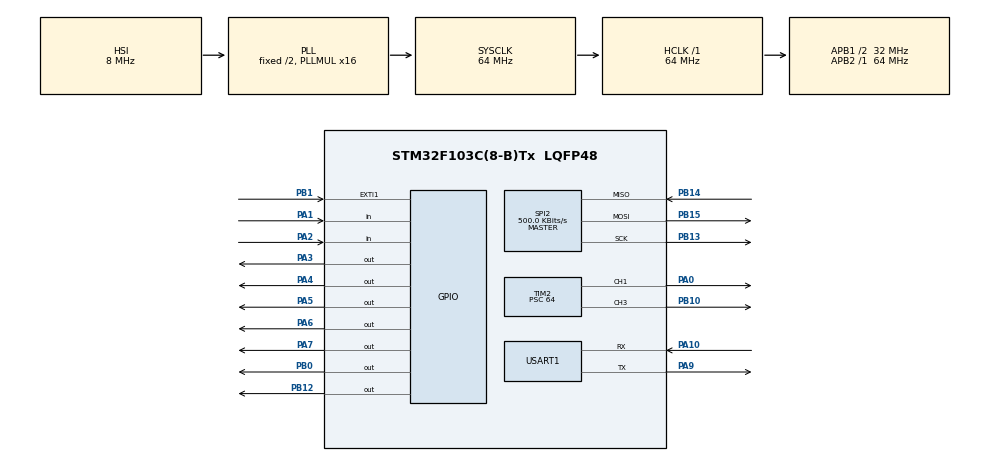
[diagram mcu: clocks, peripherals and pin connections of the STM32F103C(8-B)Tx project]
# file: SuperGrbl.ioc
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Mcu.Family=STM32F1
Mcu.Name=STM32F103C(8-B)Tx
Mcu.Package=LQFP48
NVIC.PriorityGroup=NVIC_PRIORITYGROUP_4
NVIC.TIM1_CC_IRQn=true\:0\:0\:false\:false\:true\:true\:true
NVIC.TIM1_UP_IRQn=true\:0\:0\:false\:false\:true\:true\:true
NVIC.TIM2_IRQn=true\:0\:0\:false\:false\:true\:true\:true
NVIC.USART1_IRQn=true\:0\:0\:false\:false\:true\:true\:true
PA0-WKUP.Signal=S_TIM2_CH1_ETR
PA1.GPIO_PuPd=GPIO_PULLUP
PA1.Signal=GPIO_Input
PA10.Mode=Asynchronous
PA10.Signal=USART1_RX
PA13.Mode=JTAG_4_pins
PA13.Signal=SYS_JTMS-SWDIO
PA14.Mode=JTAG_4_pins
PA14.Signal=SYS_JTCK-SWCLK
PA15.Mode=JTAG_4_pins
PA15.Signal=SYS_JTDI
PA2.GPIO_PuPd=GPIO_PULLUP
PA2.Signal=GPIO_Input
PA3.Signal=GPIO_Output
PA4.Signal=GPIO_Output
PA5.Signal=GPIO_Output
PA6.Signal=GPIO_Output
PA7.Signal=GPIO_Output
PA9.Mode=Asynchronous
PA9.Signal=USART1_TX
PB0.Signal=GPIO_Output
PB1.GPIO_ModeDefaultEXTI=GPIO_MODE_IT_FALLING
PB1.Signal=GPXTI1
PB10.Signal=S_TIM2_CH3
PB12.Signal=GPIO_Output
PB13.Mode=Full_Duplex_Master
PB13.Signal=SPI2_SCK
PB14.Mode=Full_Duplex_Master
PB14.Signal=SPI2_MISO
PB15.Mode=Full_Duplex_Master
PB15.Signal=SPI2_MOSI
PB3.Mode=JTAG_4_pins
PB3.Signal=SYS_JTDO-TRACESWO
PD0-OSC_IN.Mode=HSE-External-Clock-Source
PD0-OSC_IN.Signal=RCC_OSC_IN
PD1-OSC_OUT.Mode=HSE-External-Clock-Source
PD1-OSC_OUT.Signal=RCC_OSC_OUT
ProjectManager.HeapSize=0x200
ProjectManager.StackSize=0x400
ProjectManager.TargetToolchain=MDK-ARM V5.27
RCC.AHBFreq_Value=64000000
RCC.APB1CLKDivider=RCC_HCLK_DIV2
RCC.APB1Freq_Value=32000000
RCC.APB1TimFreq_Value=64000000
RCC.APB2Freq_Value=64000000
RCC.APB2TimFreq_Value=64000000
RCC.HCLKFreq_Value=64000000
RCC.PLLMUL=RCC_PLL_MUL16
RCC.SYSCLKFreq_VALUE=64000000
RCC.SYSCLKSource=RCC_SYSCLKSOURCE_PLLCLK
RCC.USBFreq_Value=64000000
SH.S_TIM2_CH1_ETR.0=TIM2_CH1,PWM Generation1 CH1
SH.S_TIM2_CH3.0=TIM2_CH3,PWM Generation3 CH3
SPI2.BaudRatePrescaler=SPI_BAUDRATEPRESCALER_64
SPI2.CalculateBaudRate=500.0 KBits/s
SPI2.Direction=SPI_DIRECTION_2LINES
SPI2.Mode=SPI_MODE_MASTER
SPI2.VirtualType=VM_MASTER
TIM1.Period=999
TIM1.Prescaler=64
TIM2.Channel-PWM\ Generation1\ CH1=TIM_CHANNEL_1
TIM2.Channel-PWM\ Generation3\ CH3=TIM_CHANNEL_3
TIM2.Period=999
TIM2.Prescaler=64
USART1.VirtualMode=VM_ASYNC
VP_TIM1_VS_ClockSourceINT.Mode=Internal
VP_TIM2_VS_ClockSourceINT.Mode=Internal
board=custom

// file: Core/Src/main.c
/* USER CODE BEGIN Header */
/**
  ******************************************************************************
  * @file           : main.c
  * @brief          : Main program body
  ******************************************************************************
  * @attention
  *
  * <h2><center>&copy; Copyright (c) 2022 STMicroelectronics.
  * All rights reserved.</center></h2>
  *
  * This software component is licensed by ST under BSD 3-Clause license,
  * the "License"; You may not use this file except in compliance with the
  * License. You may obtain a copy of the License at:
  *                        opensource.org/licenses/BSD-3-Clause
  *
  ******************************************************************************
  */
/* USER CODE END Header */
#include "main.h"

/* USER CODE BEGIN Includes */
#include "mainserver.h"
/* USER CODE END Includes */

SPI_HandleTypeDef hspi2;

TIM_HandleTypeDef htim1;
TIM_HandleTypeDef htim2;

UART_HandleTypeDef huart1;

void SystemClock_Config(void);
static void MX_GPIO_Init(void);
static void MX_SPI2_Init(void);
static void MX_TIM1_Init(void);
static void MX_TIM2_Init(void);
static void MX_USART1_UART_Init(void);

int main(void)
{

  /* MCU Configuration--------------------------------------------------------*/

  /* Reset of all peripherals, Initializes the Flash interface and the Systick. */
  HAL_Init();

  /* Configure the system clock */
  SystemClock_Config();

  /* Initialize all configured peripherals */
  MX_GPIO_Init();
  MX_SPI2_Init();
  MX_TIM1_Init();
  MX_TIM2_Init();
  MX_USART1_UART_Init();
  /* USER CODE BEGIN 2 */
  DataInit();

  /* USER CODE END 2 */

  /* Infinite loop */
  /* USER CODE BEGIN WHILE */
  while (1)
  {
    MainServer();
    /* USER CODE END WHILE */

  }
}

void SystemClock_Config(void)
{
  RCC_OscInitTypeDef RCC_OscInitStruct = {0};
  RCC_ClkInitTypeDef RCC_ClkInitStruct = {0};

  /** Initializes the RCC Oscillators according to the specified parameters
  * in the RCC_OscInitTypeDef structure.
  */
  RCC_OscInitStruct.OscillatorType = RCC_OSCILLATORTYPE_HSI;
  RCC_OscInitStruct.HSIState = RCC_HSI_ON;
  RCC_OscInitStruct.HSICalibrationValue = RCC_HSICALIBRATION_DEFAULT;
  RCC_OscInitStruct.PLL.PLLState = RCC_PLL_ON;
  RCC_OscInitStruct.PLL.PLLSource = RCC_PLLSOURCE_HSI_DIV2;
  RCC_OscInitStruct.PLL.PLLMUL = RCC_PLL_MUL16;
  if (HAL_RCC_OscConfig(&RCC_OscInitStruct) != HAL_OK)
  {
    Error_Handler();
  }
  /** Initializes the CPU, AHB and APB buses clocks
  */
  RCC_ClkInitStruct.ClockType = RCC_CLOCKTYPE_HCLK|RCC_CLOCKTYPE_SYSCLK
                              |RCC_CLOCKTYPE_PCLK1|RCC_CLOCKTYPE_PCLK2;
  RCC_ClkInitStruct.SYSCLKSource = RCC_SYSCLKSOURCE_PLLCLK;
  RCC_ClkInitStruct.AHBCLKDivider = RCC_SYSCLK_DIV1;
  RCC_ClkInitStruct.APB1CLKDivider = RCC_HCLK_DIV2;
  RCC_ClkInitStruct.APB2CLKDivider = RCC_HCLK_DIV1;

  if (HAL_RCC_ClockConfig(&RCC_ClkInitStruct, FLASH_LATENCY_2) != HAL_OK)
  {
    Error_Handler();
  }
}

static void MX_SPI2_Init(void)
{

  /* SPI2 parameter configuration*/
  hspi2.Instance = SPI2;
  hspi2.Init.Mode = SPI_MODE_MASTER;
  hspi2.Init.Direction = SPI_DIRECTION_2LINES;
  hspi2.Init.DataSize = SPI_DATASIZE_8BIT;
  hspi2.Init.CLKPolarity = SPI_POLARITY_LOW;
  hspi2.Init.CLKPhase = SPI_PHASE_1EDGE;
  hspi2.Init.NSS = SPI_NSS_SOFT;
  hspi2.Init.BaudRatePrescaler = SPI_BAUDRATEPRESCALER_64;
  hspi2.Init.FirstBit = SPI_FIRSTBIT_MSB;
  hspi2.Init.TIMode = SPI_TIMODE_DISABLE;
  hspi2.Init.CRCCalculation = SPI_CRCCALCULATION_DISABLE;
  hspi2.Init.CRCPolynomial = 10;
  if (HAL_SPI_Init(&hspi2) != HAL_OK)
  {
    Error_Handler();
  }
  /* USER CODE BEGIN SPI2_Init 2 */
  __HAL_SPI_ENABLE(&hspi2);
  /* USER CODE END SPI2_Init 2 */

}

static void MX_TIM1_Init(void)
{

  TIM_ClockConfigTypeDef sClockSourceConfig = {0};
  TIM_MasterConfigTypeDef sMasterConfig = {0};

  /* USER CODE BEGIN TIM1_Init 1 */
  TIM1->SR = ~(TIM_FLAG_UPDATE);
  TIM1->SR = ~(TIM_FLAG_CC1);

  /* USER CODE END TIM1_Init 1 */
  htim1.Instance = TIM1;
  htim1.Init.Prescaler = 64;
  htim1.Init.CounterMode = TIM_COUNTERMODE_UP;
  htim1.Init.Period = 999;
  htim1.Init.ClockDivision = TIM_CLOCKDIVISION_DIV1;
  htim1.Init.RepetitionCounter = 0;
  htim1.Init.AutoReloadPreload = TIM_AUTORELOAD_PRELOAD_DISABLE;
  if (HAL_TIM_Base_Init(&htim1) != HAL_OK)
  {
    Error_Handler();
  }
  sClockSourceConfig.ClockSource = TIM_CLOCKSOURCE_INTERNAL;
  if (HAL_TIM_ConfigClockSource(&htim1, &sClockSourceConfig) != HAL_OK)
  {
    Error_Handler();
  }
  sMasterConfig.MasterOutputTrigger = TIM_TRGO_RESET;
  sMasterConfig.MasterSlaveMode = TIM_MASTERSLAVEMODE_DISABLE;
  if (HAL_TIMEx_MasterConfigSynchronization(&htim1, &sMasterConfig) != HAL_OK)
  {
    Error_Handler();
  }
  /* USER CODE BEGIN TIM1_Init 2 */
  __HAL_TIM_CLEAR_FLAG(&htim1,TIM_FLAG_UPDATE);
  __HAL_TIM_CLEAR_FLAG(&htim1,TIM_FLAG_CC1);
  __HAL_TIM_ENABLE_IT(&htim1,TIM_IT_UPDATE);
  __HAL_TIM_ENABLE_IT(&htim1,TIM_IT_CC1);
  __HAL_TIM_DISABLE(&htim1);
  /* USER CODE END TIM1_Init 2 */

}

static void MX_TIM2_Init(void)
{

  TIM_ClockConfigTypeDef sClockSourceConfig = {0};
  TIM_MasterConfigTypeDef sMasterConfig = {0};
  TIM_OC_InitTypeDef sConfigOC = {0};

  htim2.Instance = TIM2;
  htim2.Init.Prescaler = 64;
  htim2.Init.CounterMode = TIM_COUNTERMODE_UP;
  htim2.Init.Period = 999;
  htim2.Init.ClockDivision = TIM_CLOCKDIVISION_DIV1;
  htim2.Init.AutoReloadPreload = TIM_AUTORELOAD_PRELOAD_DISABLE;
  if (HAL_TIM_Base_Init(&htim2) != HAL_OK)
  {
    Error_Handler();
  }
  sClockSourceConfig.ClockSource = TIM_CLOCKSOURCE_INTERNAL;
  if (HAL_TIM_ConfigClockSource(&htim2, &sClockSourceConfig) != HAL_OK)
  {
    Error_Handler();
  }
  if (HAL_TIM_PWM_Init(&htim2) != HAL_OK)
  {
    Error_Handler();
  }
  sMasterConfig.MasterOutputTrigger = TIM_TRGO_RESET;
  sMasterConfig.MasterSlaveMode = TIM_MASTERSLAVEMODE_DISABLE;
  if (HAL_TIMEx_MasterConfigSynchronization(&htim2, &sMasterConfig) != HAL_OK)
  {
    Error_Handler();
  }
  sConfigOC.OCMode = TIM_OCMODE_PWM1;
  sConfigOC.Pulse = 0;
  sConfigOC.OCPolarity = TIM_OCPOLARITY_HIGH;
  sConfigOC.OCFastMode = TIM_OCFAST_DISABLE;
  if (HAL_TIM_PWM_ConfigChannel(&htim2, &sConfigOC, TIM_CHANNEL_1) != HAL_OK)
  {
    Error_Handler();
  }
  if (HAL_TIM_PWM_ConfigChannel(&htim2, &sConfigOC, TIM_CHANNEL_3) != HAL_OK)
  {
    Error_Handler();
  }
  /* USER CODE BEGIN TIM2_Init 2 */
  TIM_CCxChannelCmd(htim2.Instance, TIM_CHANNEL_1, TIM_CCx_DISABLE);
  __HAL_TIM_ENABLE(&htim2);
  /* USER CODE END TIM2_Init 2 */
  HAL_TIM_MspPostInit(&htim2);

}

static void MX_USART1_UART_Init(void)
{

  huart1.Instance = USART1;
  huart1.Init.BaudRate = 115200;
  huart1.Init.WordLength = UART_WORDLENGTH_8B;
  huart1.Init.StopBits = UART_STOPBITS_1;
  huart1.Init.Parity = UART_PARITY_NONE;
  huart1.Init.Mode = UART_MODE_TX_RX;
  huart1.Init.HwFlowCtl = UART_HWCONTROL_NONE;
  huart1.Init.OverSampling = UART_OVERSAMPLING_16;
  if (HAL_UART_Init(&huart1) != HAL_OK)
  {
    Error_Handler();
  }
  /* USER CODE BEGIN USART1_Init 2 */
  __HAL_UART_ENABLE_IT(&huart1,UART_IT_IDLE);
  __HAL_UART_ENABLE_IT(&huart1,UART_IT_RXNE);
  __HAL_UART_ENABLE(&huart1);
  /* USER CODE END USART1_Init 2 */

}

static void MX_GPIO_Init(void)
{
  GPIO_InitTypeDef GPIO_InitStruct = {0};

  /* GPIO Ports Clock Enable */
  __HAL_RCC_GPIOD_CLK_ENABLE();
  __HAL_RCC_GPIOA_CLK_ENABLE();
  __HAL_RCC_GPIOB_CLK_ENABLE();

  /*Configure GPIO pin Output Level */
  HAL_GPIO_WritePin(GPIOA, GPIO_PIN_3|GPIO_PIN_4|GPIO_PIN_5|GPIO_PIN_6
                          |GPIO_PIN_7, GPIO_PIN_RESET);

  /*Configure GPIO pin Output Level */
  HAL_GPIO_WritePin(GPIOB, GPIO_PIN_0|GPIO_PIN_12, GPIO_PIN_RESET);

  /*Configure GPIO pins : PA1 PA2 */
  GPIO_InitStruct.Pin = GPIO_PIN_1|GPIO_PIN_2;
  GPIO_InitStruct.Mode = GPIO_MODE_INPUT;
  GPIO_InitStruct.Pull = GPIO_PULLUP;
  HAL_GPIO_Init(GPIOA, &GPIO_InitStruct);

  /*Configure GPIO pins : PA3 PA4 PA5 PA6
                           PA7 */
  GPIO_InitStruct.Pin = GPIO_PIN_3|GPIO_PIN_4|GPIO_PIN_5|GPIO_PIN_6
                          |GPIO_PIN_7;
  GPIO_InitStruct.Mode = GPIO_MODE_OUTPUT_PP;
  GPIO_InitStruct.Pull = GPIO_NOPULL;
  GPIO_InitStruct.Speed = GPIO_SPEED_FREQ_LOW;
  HAL_GPIO_Init(GPIOA, &GPIO_InitStruct);

  /*Configure GPIO pins : PB0 PB12 */
  GPIO_InitStruct.Pin = GPIO_PIN_0|GPIO_PIN_12;
  GPIO_InitStruct.Mode = GPIO_MODE_OUTPUT_PP;
  GPIO_InitStruct.Pull = GPIO_NOPULL;
  GPIO_InitStruct.Speed = GPIO_SPEED_FREQ_LOW;
  HAL_GPIO_Init(GPIOB, &GPIO_InitStruct);

  /*Configure GPIO pin : PB1 */
  GPIO_InitStruct.Pin = GPIO_PIN_1;
  GPIO_InitStruct.Mode = GPIO_MODE_IT_FALLING;
  GPIO_InitStruct.Pull = GPIO_NOPULL;
  HAL_GPIO_Init(GPIOB, &GPIO_InitStruct);

}

void Error_Handler(void)
{
  __disable_irq();
  while (1)
  {
  }
}

/************************ (C) COPYRIGHT STMicroelectronics *****END OF FILE****/
